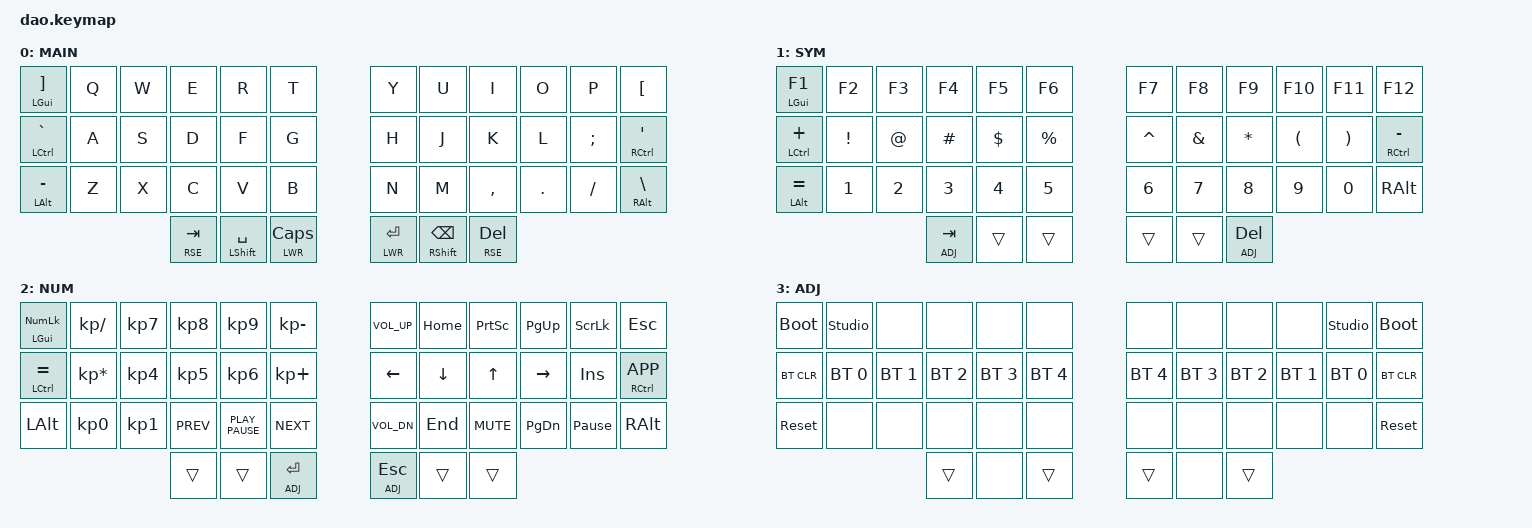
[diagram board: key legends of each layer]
/*
 * Copyright (c) 2021 Rafael Yumagulov
 *
 * SPDX-License-Identifier: MIT
 */

#include <behaviors.dtsi>
#include <dt-bindings/zmk/bt.h>
#include <dt-bindings/zmk/keys.h>

#define DEF 0
#define LWR 1
#define RSE 2
#define ADJ 3
#define KEYS_L 0 1 2 3 4 5 12 13 14 15 16 17 24 25 26 27 28 29
#define KEYS_R 6 7 8 9 10 11 18 19 20 21 22 23 30 31 32 33 34 35
#define THUMBS 36 37 38 39 40 41

&lt { quick_tap_ms = <200>; };

&mt { quick_tap_ms = <200>; };

/ {
    chosen {
        zmk,physical_layout = &dao_crkbd_layout;

        // zmk,physical_layout = &dao_full_layout;
    };
};

/ {

    combos {
        compatible = "zmk,combos";

        combo_leftsup {
            bindings = <&kp LEFT_GUI>;
            key-positions = <25 26>;
        };

        combo_rightsup {
            bindings = <&kp LEFT_GUI>;
            key-positions = <33 34>;
        };
    };

    keymap {
        compatible = "zmk,keymap";

        default_layer {
            display-name = "MAIN";
            bindings = <
  &mt LGUI RBKT    &kp Q  &kp W  &kp E        &kp R            &kp T               &kp Y          &kp U           &kp I        &kp O    &kp P     &kp LBKT
  &mt LCTRL GRAVE  &kp A  &kp S  &kp D        &kp F            &kp G               &kp H          &kp J           &kp K        &kp L    &kp SEMI  &mt RCTRL SQT
  &mt LALT MINUS   &kp Z  &kp X  &kp C        &kp V            &kp B               &kp N          &kp M           &kp COMMA    &kp DOT  &kp FSLH  &mt RALT BSLH
                                 &lt RSE TAB  &mt LSHFT SPACE  &lt LWR CAPSLOCK    &lt LWR ENTER  &mt RSHFT BSPC  &lt RSE DEL
            >;
        };

        lower_layer {
            display-name = "SYM";
            bindings = <
  &mt LGUI F1     &kp F2    &kp F3  &kp F4       &kp F5    &kp F6       &kp F7     &kp F8    &kp F9       &kp F10   &kp F11   &kp F12
  &mt LCTRL PLUS  &kp EXCL  &kp AT  &kp HASH     &kp DLLR  &kp PRCNT    &kp CARET  &kp AMPS  &kp STAR     &kp LPAR  &kp RPAR  &mt RCTRL MINUS
  &mt LALT EQUAL  &kp N1    &kp N2  &kp N3       &kp N4    &kp N5       &kp N6     &kp N7    &kp N8       &kp N9    &kp N0    &kp RALT
                                    &lt ADJ TAB  &trans    &trans       &trans     &trans    &lt ADJ DEL
            >;
        };

        raise_layer {
            display-name = "NUM";
            bindings = <
  &mt LGUI KP_NUM  &kp KP_SLASH     &kp KP_N7  &kp KP_N8   &kp KP_N9         &kp KP_MINUS     &kp C_VOL_UP  &kp HOME        &kp PSCRN   &kp PG_UP  &kp SLCK         &kp ESCAPE
  &mt LCTRL EQUAL  &kp KP_MULTIPLY  &kp KP_N4  &kp KP_N5   &kp KP_N6         &kp KP_PLUS      &kp LEFT      &kp DOWN_ARROW  &kp UP      &kp RIGHT  &kp INS          &mt RCTRL K_APP
  &kp LALT         &kp KP_N0        &kp KP_N1  &kp K_PREV  &kp K_PLAY_PAUSE  &kp K_NEXT       &kp C_VOL_DN  &kp END         &kp K_MUTE  &kp PG_DN  &kp PAUSE_BREAK  &kp RALT
                                               &trans      &trans            &lt ADJ ENTER    &lt ADJ ESC   &trans          &trans
            >;
        };

        adjust_layer {
            display-name = "ADJ";
            bindings = <
  &bootloader  &studio_unlock  &none         &none         &none         &none           &none         &none         &none         &none         &studio_unlock  &bootloader
  &bt BT_CLR   &bt BT_SEL 0    &bt BT_SEL 1  &bt BT_SEL 2  &bt BT_SEL 3  &bt BT_SEL 4    &bt BT_SEL 4  &bt BT_SEL 3  &bt BT_SEL 2  &bt BT_SEL 1  &bt BT_SEL 0    &bt BT_CLR
  &sys_reset   &none           &none         &none         &none         &none           &none         &none         &none         &none         &none           &sys_reset
                                             &trans        &none         &trans          &trans        &none         &trans
            >;
        };
    };
};
